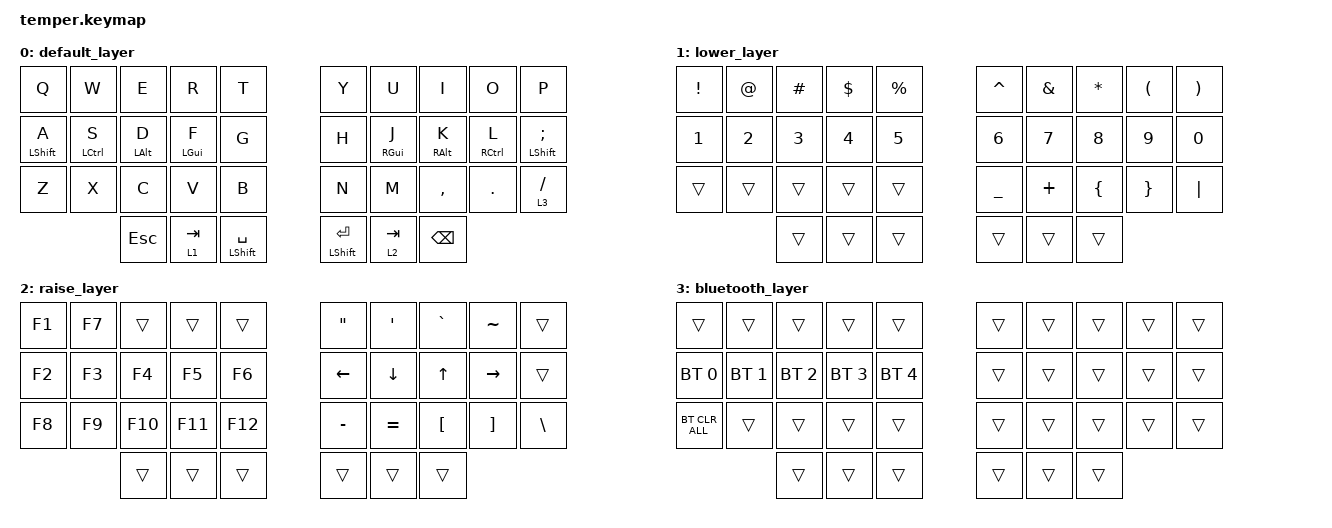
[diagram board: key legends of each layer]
/*
 * Copyright (c) 2020 The ZMK Contributors
 *
 * SPDX-License-Identifier: MIT
 */

#include <behaviors.dtsi>
#include <dt-bindings/zmk/keys.h>
#include <dt-bindings/zmk/bt.h>

#define _BT_0_    &bt BT_SEL 0
#define _BT_1_    &bt BT_SEL 1
#define _BT_2_    &bt BT_SEL 2
#define _BT_3_    &bt BT_SEL 3
#define _BT_4_    &bt BT_SEL 4
#define _BT_CL_A_ &bt BT_CLR_ALL
#define _SFT_SPC_ &mt LSHFT SPACE
#define _SFT_RET_ &mt LSHFT RET

&mt {
    tapping-term-ms = <201>;
    flavor = "tap-preferred";
 };
&lt {
    tapping-term-ms = <201>;
    flavor = "tap-preferred";
 };

/ {
        keymap {
                compatible = "zmk,keymap";

                default_layer {
// -----------------------------------------------------------------------------------------
//   Q  |  W  |  E  |  R  |  T  |   |  Y  |  U   |  I  |  O  |  P  
//   A  |  S  |  D  |  F  |  G  |   |  H  |  J   |  K  |  L  |  ;  
//   Z  |  X  |  C  |  V  |  B  |   |  N  |  M   |  ,  |  .  | / (hold BT)
//            | ESC | TAB/LWR | SPC/SFT |   | ENT/SFT | TAB/RSE | BSPC |
                        bindings = <
//      ╭───────────────────────────────────────────────────────────╮   ╭───────────────────────────────────────────────────────────╮
//      │     _     │     _     │     _     │     _     │     _     │   │     _     │     _     │     _     │     _     │     _     │
            &kp Q       &kp W       &kp E       &kp R       &kp T           &kp Y       &kp U       &kp I       &kp O       &kp P   
//      ├───────────┼───────────┼───────────┼───────────┼───────────┤   ├───────────┼───────────┼───────────┼───────────┼───────────┤
//      │     _     │     _     │     _     │     _     │     _     │   │     _     │     _     │     _     │     _     │     _     │
       &mt LSHIFT A    &mt LCTRL S  &mt LALT D  &mt LGUI F     &kp G          &kp H    &mt RGUI J  &mt RALT K  &mt RCTRL L  &mt LSHIFT SEMI  
//      ├───────────┼───────────┼───────────┼───────────┼───────────┤   ├───────────┼───────────┼───────────┼───────────┼───────────┤
//      │     _     │     _     │     _     │     _     │     _     │   │     _     │     _     │     _     │     _     │     _     │
            &kp Z       &kp X       &kp C       &kp V       &kp B           &kp N       &kp M     &kp COMMA    &kp DOT    &lt 3 FSLH
//      ╰───────────┼───────────┼───────────┼───────────┼───────────╯   ╰───────────┼───────────┼───────────┼───────────┼───────────╯
                                  &kp ESC      &lt 1 TAB     _SFT_SPC_        _SFT_RET_     &lt 2 TAB      &kp BSPC
//                              │                                   │   │                                   │
//                              ╰───────────────────────────────────╯   ╰───────────────────────────────────╯
//
              >;
      };
      lower_layer {
// -----------------------------------------------------------------------------------------
//   !  |  @  |  #  |  $  |  %  |   |  ^  |  &  |  *  |  (  |  )  
//   1  |  2  |  3  |  4  |  5  |   |  6  |  7  |  8  |  9  |  0  
//      |     |     |     |     |   |  _  |  +  |  {  |  }  | PIPE
//                    | transparent thumbs |
                        bindings = <
//      ╭───────────────────────────────────────────────────────────╮   ╭───────────────────────────────────────────────────────────╮
//      │     _     │     _     │     _     │     _     │     _     │   │     _     │     _     │     _     │     _     │     _     │
           &kp EXCL    &kp AT     &kp HASH    &kp DLLR    &kp PRCNT       &kp CARET   &kp AMPS    &kp ASTRK   &kp LPAR    &kp RPAR  
//      ├───────────┼───────────┼───────────┼───────────┼───────────┤   ├───────────┼───────────┼───────────┼───────────┼───────────┤
//      │     _     │     _     │     _     │     _     │     _     │   │     _     │     _     │     _     │     _     │     _     │
           &kp N1      &kp N2      &kp N3      &kp N4      &kp N5          &kp N6      &kp N7      &kp N8      &kp N9      &kp N0  
//      ├───────────┼───────────┼───────────┼───────────┼───────────┤   ├───────────┼───────────┼───────────┼───────────┼───────────┤
//      │     _     │     _     │     _     │     _     │     _     │   │     _     │     _     │     _     │     _     │     _     │
           &trans      &trans      &trans      &trans      &trans         &kp UNDER   &kp PLUS     &kp LBRC    &kp RBRC    &kp PIPE
//      ╰───────────┼───────────┼───────────┼───────────┼───────────╯   ╰───────────┼───────────┼───────────┼───────────┼───────────╯
                                   &trans      &trans      &trans          &trans      &trans      &trans
//                              │                                   │   │                                   │
//                              ╰───────────────────────────────────╯   ╰───────────────────────────────────╯
              >;
      };
                raise_layer {
// -----------------------------------------------------------------------------------------
//  F1  | F7  |     |     |     |   |  "  |  '  |  `  |  ~  | (transparent)
//  F2  | F3  | F4  | F5  | F6  |   | LFT | DWN |  UP | RGT |
//  F8  | F9  | F10 | F11 | F12 |   |  -  |  =  |  [  |  ]  | BSLH
// Corne positions preserved for F2-F6 and F8-F12; F1/F7 replace the missing outer column.
//                    | transparent thumbs |
                        bindings = <
//      ╭───────────────────────────────────────────────────────────╮   ╭───────────────────────────────────────────────────────────╮
//      │     _     │     _     │     _     │     _     │     _     │   │     _     │     _     │     _     │     _     │     _     │
           &kp F1      &kp F7      &trans     &trans       &trans         &kp DQT     &kp SQT     &kp GRAVE   &kp TILDE   &trans
//      ├───────────┼───────────┼───────────┼───────────┼───────────┤   ├───────────┼───────────┼───────────┼───────────┼───────────┤
//      │     _     │     _     │     _     │     _     │     _     │   │     _     │      _    │     _     │     _     │     _     │
           &kp F2      &kp F3      &kp F4      &kp F5      &kp F6          &kp LEFT    &kp DOWN     &kp UP     &kp RIGHT   &trans
//      ├───────────┼───────────┼───────────┼───────────┼───────────┤   ├───────────┼───────────┼───────────┼───────────┼───────────┤
//      │     _     │     _     │     _     │     _     │     _     │   │     _     │     _     │     _     │     _     │     _     │
          &kp F8      &kp F9      &kp F10     &kp F11     &kp F12         &kp MINUS    &kp EQUAL   &kp LBKT    &kp RBKT   &kp BSLH
//      ╰───────────┼───────────┼───────────┼───────────┼───────────╯   ╰───────────┼───────────┼───────────┼───────────┼───────────╯
                                   &trans      &trans      &trans          &trans      &trans      &trans
//                              │                                   │   │                                   │
//                              ╰───────────────────────────────────╯   ╰───────────────────────────────────╯
                        >;
                };

                bluetooth_layer {
                        // Hold the base-layer slash key to access Bluetooth controls.
                        // Profiles 0-4 on A-G; clear all bonds on Z.
                        bindings = <
                            &trans      &trans      &trans      &trans      &trans         &trans      &trans      &trans      &trans      &trans
                            _BT_0_      _BT_1_      _BT_2_      _BT_3_      _BT_4_         &trans      &trans      &trans      &trans      &trans
                            _BT_CL_A_   &trans      &trans      &trans      &trans         &trans      &trans      &trans      &trans      &trans
                                        &trans      &trans      &trans         &trans      &trans      &trans
                        >;
                };
        };
};
 
//                                  Template for new layers all keys are transparent
//      ╭───────────────────────────────────────────────────────────╮   ╭───────────────────────────────────────────────────────────╮
//      │     _     │     _     │     _     │     _     │     _     │   │     _     │     _     │     _     │     _     │     _     │
//      │    ___    │    ___    │    ___    │    ___    │    ___    │   │    ___    │    ___    │    ___    │    ___    │    ___    │
//      ├───────────┼───────────┼───────────┼───────────┼───────────┤   ├───────────┼───────────┼───────────┼───────────┼───────────┤
//      │     _     │     _     │     _     │     _     │     _     │   │     _     │     _     │     _     │     _     │     _     │
//      │    ___    │    ___    │    ___    │    ___    │    ___    │   │    ___    │    ___    │    ___    │    ___    │    ___    │
//      ├───────────┼───────────┼───────────┼───────────┼───────────┤   ├───────────┼───────────┼───────────┼───────────┼───────────┤
//      │     _     │     _     │     _     │     _     │     _     │   │     _     │     _     │     _     │     _     │     _     │
//      │    ___    │    ___    │    ___    │    ___    │    ___    │   │    ___    │    ___    │    ___    │    ___    │    ___    │
//      ╰───────────┼───────────┼───────────┼───────────┼───────────╯   ╰───────────┼───────────┼───────────┼───────────┼───────────╯
//                                   ___         ___              ___         ___
//                              │                                   │   │                                   │
//                              ╰───────────────────────────────────╯   ╰───────────────────────────────────╯
//
// vim:ft=cpp

